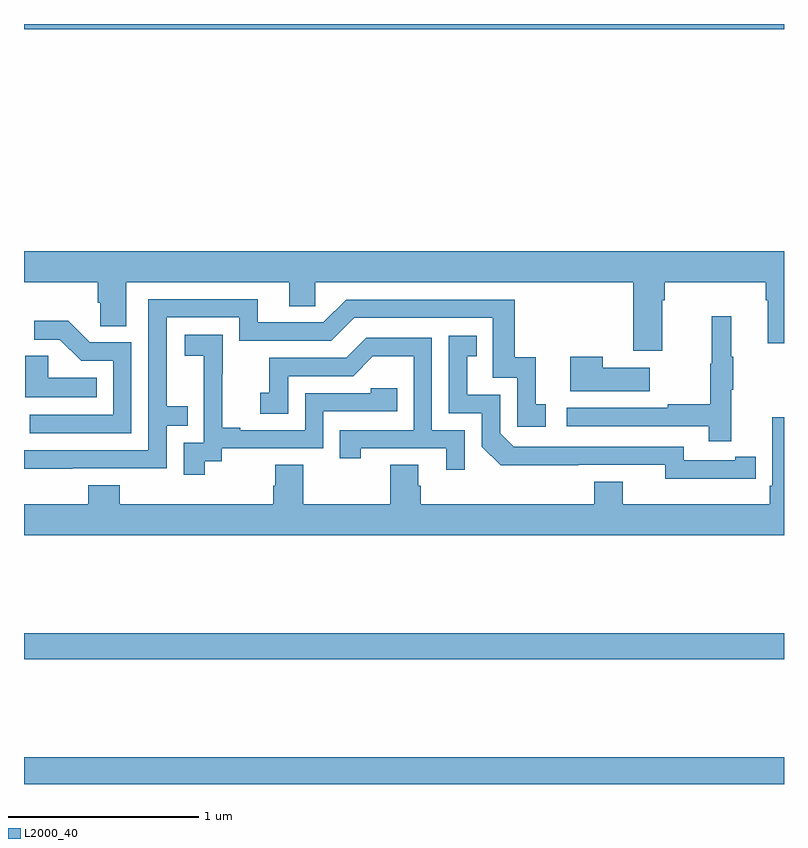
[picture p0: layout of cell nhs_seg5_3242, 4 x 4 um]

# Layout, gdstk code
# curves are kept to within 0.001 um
import gdstk
lib = gdstk.Library(unit=1e-6, precision=1e-09)
def R(c, l, rs):  # rectangles x0, y0, x1, y1
    for r in rs: c.add(gdstk.rectangle(r[:2], r[2:], *l))
def P(c, l, *ps):  # polygons
    for p in ps: c.add(gdstk.Polygon(p, *l))
L2000_40 = (2000, 40)

nhs_seg5_3242 = lib.new_cell('nhs_seg5_3242')
R(nhs_seg5_3242, L2000_40, [(299,840.799,303,840.94), (299,841.456,303,841.592), (299,844.772,303,844.799)])
P(nhs_seg5_3242, L2000_40, [(302.359,843.344),(302.372,843.344),(302.372,843.44),(302.903,843.44),(302.903,843.344),(302.915,843.344),(302.915,843.12),(303,843.12),(303,843.604),(299,843.604),(299,843.44),(299.387,843.44),(299.387,843.331),(299.4,843.331),(299.4,843.208),(299.539,843.208),(299.539,843.44),(300.395,843.44),(300.395,843.313),(300.534,843.313),(300.534,843.44),(302.207,843.44),(302.207,843.078),(302.359,843.078)],
  [(299.255,842.46),(299.751,842.46),(299.751,842.685),(299.861,842.685),(299.861,842.786),(299.751,842.786),(299.751,843.255),(300.132,843.255),(300.132,843.132),(300.618,843.132),(300.738,843.252),(301.467,843.252),(301.467,842.937),(301.596,842.937),(301.596,842.679),(301.747,842.679),(301.747,842.799),(301.694,842.799),(301.694,843.046),(301.583,843.046),(301.583,843.348),(300.696,843.348),(300.576,843.228),(300.229,843.228),(300.229,843.351),(299.655,843.351),(299.655,842.556),(299,842.556),(299,842.459)],
  [(302.723,842.875),(302.734,842.875),(302.734,843.049),(302.723,843.049),(302.723,843.262),(302.62,843.262),(302.62,843.012),(302.613,843.012),(302.613,842.798),(302.389,842.798),(302.389,842.778),(301.857,842.778),(301.857,842.682),(302.605,842.682),(302.605,842.604),(302.723,842.604)],
  [(299.565,843.123),(299.346,843.123),(299.233,843.236),(299.055,843.236),(299.055,843.138),(299.189,843.138),(299.3,843.027),(299.469,843.027),(299.469,842.742),(299.031,842.742),(299.031,842.646),(299.565,842.646)],
  [(299.95,842.497),(300.042,842.497),(300.042,842.565),(300.576,842.565),(300.576,842.76),(300.965,842.76),(300.965,842.883),(300.825,842.883),(300.825,842.856),(300.48,842.856),(300.48,842.661),(300.139,842.661),(300.139,842.674),(300.044,842.674),(300.044,842.957),(300.045,842.957),(300.045,843.163),(299.847,843.163),(299.847,843.053),(299.945,843.053),(299.945,842.825),(299.946,842.825),(299.946,842.595),(299.841,842.595),(299.841,842.427),(299.95,842.427)],
  [(302.744,842.406),(302.852,842.406),(302.852,842.522),(302.744,842.522),(302.744,842.502),(302.472,842.502),(302.472,842.574),(301.578,842.574),(301.506,842.646),(301.506,842.847),(301.333,842.847),(301.333,843.051),(301.382,843.051),(301.382,843.157),(301.236,843.157),(301.236,842.751),(301.41,842.751),(301.41,842.574),(301.508,842.477),(302.376,842.478),(302.376,842.405)],
  [(301.32,842.661),(301.146,842.661),(301.146,843.147),(300.8,843.147),(300.695,843.042),(300.292,843.042),(300.292,842.857),(300.243,842.857),(300.243,842.748),(300.39,842.748),(300.39,842.946),(300.732,842.946),(300.836,843.05),(301.05,843.05),(301.05,842.661),(300.661,842.661),(300.661,842.514),(300.772,842.514),(300.772,842.565),(301.223,842.565),(301.223,842.454),(301.32,842.454)],
  [(299.384,842.938),(299.127,842.938),(299.127,843.053),(299.006,843.053),(299.006,842.834),(299.384,842.834)],
  [(302.293,842.989),(302.045,842.989),(302.045,843.049),(301.874,843.049),(301.874,842.867),(302.293,842.867)],
  [(303,842.728),(302.937,842.728),(302.937,842.368),(302.924,842.368),(302.924,842.272),(302.152,842.272),(302.152,842.389),(302,842.389),(302,842.272),(301.088,842.272),(301.088,842.37),(301.075,842.37),(301.075,842.48),(300.928,842.48),(300.928,842.272),(300.471,842.272),(300.471,842.48),(300.323,842.48),(300.323,842.37),(300.311,842.37),(300.311,842.272),(299.504,842.272),(299.504,842.371),(299.339,842.371),(299.339,842.272),(299,842.272),(299,842.108),(303,842.108)])

lib.write_gds('nhs_seg5_3242.gds')
